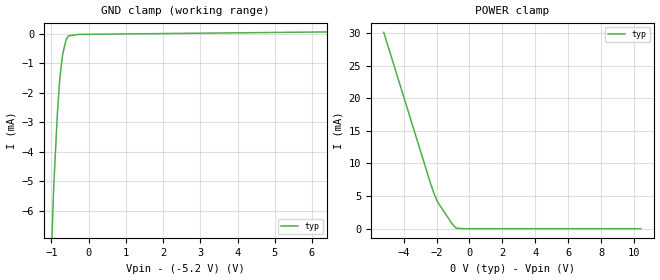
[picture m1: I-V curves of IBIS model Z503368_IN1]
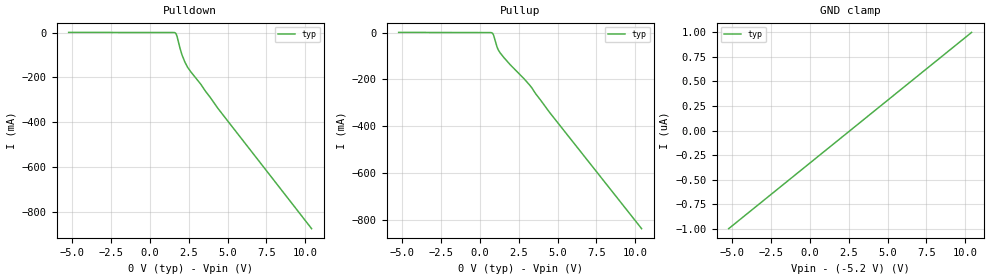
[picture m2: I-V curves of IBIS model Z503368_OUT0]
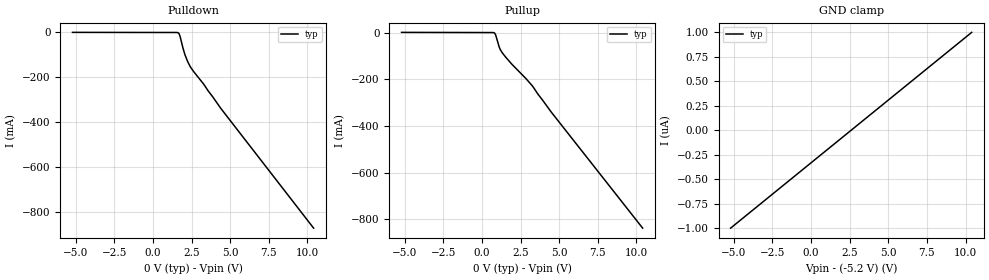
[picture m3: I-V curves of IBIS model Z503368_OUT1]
[IBIS Ver] 3.1
[File Name] mc100e210fn_-52.ibs
[File Rev] 1.0
[Source] Derived from mc100e116fn_pecl.ibs and mc100e164fn.ibs
|   Measured and created by ICX Technology
[Date] 1/20/2004
[Copyright]
| (C) COPYRIGHT 1993-2000
| MENTOR GRAPHICS CORPORATION
| ICX STANDARD LIBRARY, ICX PROJECT MODELING,
| ICX CUSTOM MODELING, ICX VENDOR MODEL
| ALL RIGHTS RESERVED.
| THE FOLLOWING ARE TRADEMARKS OR SERVICE MARKS OF
| MENTOR GRAPHICS CORPORATION:ICX (R), ICX STANDARD
| LIBRARY(R), ICX PROJECT MODELING(R), ICX CUSTOM
| MODELING(R), qualityIBIS(TM), MODELVIEWER(TM),
| AND MODELEDITOR(TM)
| ALL COPIES OF SOFTWARE, INCLUDING BUT NOT LIMITED TO
| ANY MODIFICATIONS, ENHANCEMENTS OR DERIVATIVE WORKS,
| MUST CONTAIN ALL MENTOR GRAPHICS CORPORATION'S
| NOTICES AND LEGENDS, INCLUDING THOSE EMBEDDED IN
| SOFTWARE AND THOSE AFFIXED TO SOFTWARE MEDIUM
| AND CONTAINER, AS RECEIVED FROM MENTOR GRAPHICS
| CORPORATION.
|  ZAP Model Builder 2.7
[Component] MC100E210FN_PECL
[Manufacturer] On Semiconductor
[Package]
| variable   typ   min   max
R_pkg  .083ohms NA NA
L_pkg  4.299nH NA NA
C_pkg  1.045pF NA NA
[Pin] signal_name  model_name  R_pin  L_pin C_pin
1 VCC POWER .082 4.14n .995p
2 _CLKa Z503368_IN1 .086 4.583n 1.135p
3 CLKb Z503368_IN1 .086 4.583n 1.135p
4 _CLKb Z503368_IN1 .086 4.583n 1.135p
5 _Qb4 Z503368_OUT1 .082 4.14n .995p
6 Qb4 Z503368_OUT0 .08 3.94n .925p
7 _Qb3 Z503368_OUT1 .082 4.14n .995p
8 VCCO POWER .084 4.354n 1.065p
9 Qb3 Z503368_OUT0 .08 3.94n .925p
10 _Qb2 Z503368_OUT1 .082 4.14n .995p
11 Qb2 Z503368_OUT0 .08 3.94n .925p
12 _Qb1 Z503368_OUT1 .082 4.14n .995p
13 Qb1 Z503368_OUT0 .08 3.94n .925p
14 _Qb0 Z503368_OUT1 .082 4.14n .995p
15 VCCO POWER .084 4.354n 1.065p
16 Qb0 Z503368_OUT0 .08 3.94n .925p
17 _Qa3 Z503368_OUT1 .082 4.14n .995p
18 Qa3 Z503368_OUT0 .08 3.94n .925p
19 _Qa2 Z503368_OUT1 .082 4.14n .995p
20 Qa2 Z503368_OUT0 .08 3.94n .925p
21 _Qa1 Z503368_OUT1 .082 4.14n .995p
22 VCCO POWER .084 4.354n 1.065p
23 Qa1 Z503368_OUT0 .08 3.94n .925p
24 _Qa0 Z503368_OUT1 .082 4.14n .995p
25 Qa0 Z503368_OUT0 .08 3.94n .925p
26 VEE GND .08 3.94n .925p
27 VBB POWER .082 4.14n .995p
28 CLKa Z503368_IN1 .086 4.583n 1.135p
| Models and submodels in the file (3): Z503368_IN1 (Input_ECL), Z503368_OUT0 (Output_ECL), Z503368_OUT1 (Output_ECL)
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| (C) COPYRIGHT 1993-2000
| MENTOR GRAPHICS CORPORATION
| ICX STANDARD LIBRARY, ICX PROJECT MODELING,
| ICX CUSTOM MODELING, ICX VENDOR MODEL
| ALL RIGHTS RESERVED.
| THE FOLLOWING ARE TRADEMARKS OR SERVICE MARKS OF
| MENTOR GRAPHICS CORPORATION:ICX (R), ICX STANDARD
| LIBRARY(R), ICX PROJECT MODELING(R), ICX CUSTOM
| MODELING(R), qualityIBIS(TM), MODELVIEWER(TM),
| AND MODELEDITOR(TM)
| ALL COPIES OF SOFTWARE, INCLUDING BUT NOT LIMITED TO
| ANY MODIFICATIONS, ENHANCEMENTS OR DERIVATIVE WORKS,
| MUST CONTAIN ALL MENTOR GRAPHICS CORPORATION'S
| NOTICES AND LEGENDS, INCLUDING THOSE EMBEDDED IN
| SOFTWARE AND THOSE AFFIXED TO SOFTWARE MEDIUM
| AND CONTAINER, AS RECEIVED FROM MENTOR GRAPHICS
| CORPORATION.
| Model Application Version 1.89 2/18/99.
[Model] Z503368_IN1
Model_type Input_ECL
Vinl = -1.475V
Vinh = -1.165V
C_comp 2.000pF NA NA
| variable typ   min   max
[Voltage Range] -5.200V NA NA
[GND Clamp Reference] -5.200V NA NA
[POWER Clamp Reference] 0.000V NA NA
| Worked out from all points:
|   GND clamp passes 1 mA (typ) near -0.73 V on its own axis
|   POWER clamp passes 1 mA (typ) near -1.12 V on its own axis
[GND Clamp]
-5.2V     -230.8mA   NA         NA
-1.098V   -10.98mA   NA         NA
-938mV    -5.137mA   NA         NA
-841mV    -2.701mA   NA         NA
-776mV    -1.52mA    NA         NA
-701mV    -706.5uA   NA         NA
-609mV    -212.7uA   NA         NA
-547mV    -73.68uA   NA         NA
-273.5mV  -20.81uA   NA         NA
10.4V     113.2uA    NA         NA
[POWER Clamp]
-5.2V     30.1mA     NA         NA
-2.373V   7.03mA     NA         NA
-2.168V   5.507mA    NA         NA
-1.982V   4.337mA    NA         NA
-1.884V   3.904mA    NA         NA
-1.157V   1.139mA    NA         NA
-963.7mV  468.1uA    NA         NA
-806mV    72.79uA    NA         NA
-403mV    0A         NA         NA
10.4V     0A         NA         NA
| (C) COPYRIGHT 1993-2000
| MENTOR GRAPHICS CORPORATION
| ICX STANDARD LIBRARY, ICX PROJECT MODELING,
| ICX CUSTOM MODELING, ICX VENDOR MODEL
| ALL RIGHTS RESERVED.
| THE FOLLOWING ARE TRADEMARKS OR SERVICE MARKS OF
| MENTOR GRAPHICS CORPORATION:ICX (R), ICX STANDARD
| LIBRARY(R), ICX PROJECT MODELING(R), ICX CUSTOM
| MODELING(R), qualityIBIS(TM), MODELVIEWER(TM),
| AND MODELEDITOR(TM)
| ALL COPIES OF SOFTWARE, INCLUDING BUT NOT LIMITED TO
| ANY MODIFICATIONS, ENHANCEMENTS OR DERIVATIVE WORKS,
| MUST CONTAIN ALL MENTOR GRAPHICS CORPORATION'S
| NOTICES AND LEGENDS, INCLUDING THOSE EMBEDDED IN
| SOFTWARE AND THOSE AFFIXED TO SOFTWARE MEDIUM
| AND CONTAINER, AS RECEIVED FROM MENTOR GRAPHICS
| CORPORATION.
| Model Application Version 1.89 2/18/99.
[Model] Z503368_OUT0
Model_type Output_ECL
Vref=-2.000V
Rref=50.00ohms
Cref=0.000F
Vmeas=-1.320V
C_comp 2.000pF NA NA
| variable typ   min   max
[Voltage Range] -5.200V NA NA
[POWER Clamp Reference] 0.000V NA NA
[Pullup Reference] 0.000V NA NA
[Pulldown Reference] 0.000V NA NA
[GND Clamp Reference] -5.200V NA NA
[GND Clamp]
-5.2V     -1uA       NA         NA
10.4V     1uA        NA         NA
[Pulldown]
-5.2V     515.8uA    NA         NA
1.661V    -2.598mA   NA         NA
1.765V    -18.82mA   NA         NA
1.948V    -69.7mA    NA         NA
2.072V    -98.6mA    NA         NA
2.258V    -130.9mA   NA         NA
2.432V    -154.2mA   NA         NA
3.291V    -230.8mA   NA         NA
4.39V     -338.2mA   NA         NA
10.4V     -873mA     NA         NA
[Pullup]
-5.2V     725.2uA    NA         NA
824.7mV   -2.523mA   NA         NA
893.6mV   -11.06mA   NA         NA
1.119V    -62.19mA   NA         NA
1.329V    -87.88mA   NA         NA
1.953V    -136.7mA   NA         NA
3.237V    -226.4mA   NA         NA
4.468V    -339.1mA   NA         NA
10.4V     -837.6mA   NA         NA
[POWER Clamp]
-5.2V     0A         NA         NA
10.4V     0A         NA         NA
[Ramp]
| variable typ min max
dV/dt_r 475.6m/225.4p NA NA
dV/dt_f 475.6m/276.8p NA NA
R_load = 50.0Ohms
| (C) COPYRIGHT 1993-2000
| MENTOR GRAPHICS CORPORATION
| ICX STANDARD LIBRARY, ICX PROJECT MODELING,
| ICX CUSTOM MODELING, ICX VENDOR MODEL
| ALL RIGHTS RESERVED.
| THE FOLLOWING ARE TRADEMARKS OR SERVICE MARKS OF
| MENTOR GRAPHICS CORPORATION:ICX (R), ICX STANDARD
| LIBRARY(R), ICX PROJECT MODELING(R), ICX CUSTOM
| MODELING(R), qualityIBIS(TM), MODELVIEWER(TM),
| AND MODELEDITOR(TM)
| ALL COPIES OF SOFTWARE, INCLUDING BUT NOT LIMITED TO
| ANY MODIFICATIONS, ENHANCEMENTS OR DERIVATIVE WORKS,
| MUST CONTAIN ALL MENTOR GRAPHICS CORPORATION'S
| NOTICES AND LEGENDS, INCLUDING THOSE EMBEDDED IN
| SOFTWARE AND THOSE AFFIXED TO SOFTWARE MEDIUM
| AND CONTAINER, AS RECEIVED FROM MENTOR GRAPHICS
| CORPORATION.
| Model Application Version 1.89 2/18/99.
[Model] Z503368_OUT1
Model_type Output_ECL
Vref=-2.000V
Rref=50.00ohms
Cref=0.000F
Vmeas=-1.320V
C_comp 2.000pF NA NA
| variable typ   min   max
[Voltage Range] -5.200V NA NA
[POWER Clamp Reference] 0.000V NA NA
[Pullup Reference] 0.000V NA NA
[Pulldown Reference] 0.000V NA NA
[GND Clamp Reference] -5.200V NA NA
[GND Clamp]
-5.2V     -1uA       NA         NA
10.4V     1uA        NA         NA
[Pulldown]
-5.2V     515.8uA    NA         NA
1.661V    -2.598mA   NA         NA
1.765V    -18.82mA   NA         NA
1.948V    -69.7mA    NA         NA
2.072V    -98.6mA    NA         NA
2.258V    -130.9mA   NA         NA
2.432V    -154.2mA   NA         NA
3.291V    -230.8mA   NA         NA
4.39V     -338.2mA   NA         NA
10.4V     -873mA     NA         NA
[Pullup]
-5.2V     725.2uA    NA         NA
824.7mV   -2.523mA   NA         NA
893.6mV   -11.06mA   NA         NA
1.119V    -62.19mA   NA         NA
1.329V    -87.88mA   NA         NA
1.953V    -136.7mA   NA         NA
3.237V    -226.4mA   NA         NA
4.468V    -339.1mA   NA         NA
10.4V     -837.6mA   NA         NA
[POWER Clamp]
-5.2V     0A         NA         NA
10.4V     0A         NA         NA
[Ramp]
| variable typ min max
dV/dt_r 475.6m/267.9p NA NA
dV/dt_f 475.6m/297.3p NA NA
R_load = 50.0Ohms
